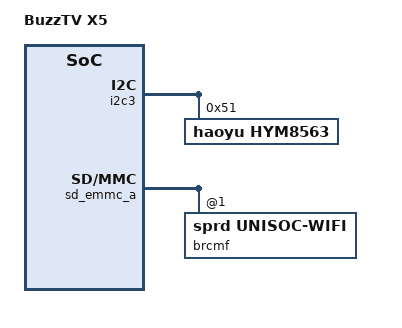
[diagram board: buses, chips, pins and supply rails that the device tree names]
#include "coreelec_sc2.dtsi"

/ {
	model = "BuzzTV X5";
	amlogic-dt-id = "sc2_s905x4_ah212-Eth-2g";
	coreelec-dt-id = "sc2_s905x4_buzztv_x5_2g";

	/delete-node/ rtc;
	/delete-node/ dvb-extern;

	gpio_keypad{
		key_num = <1>;
		key_name = "powerkey";
		key_code = <116>;
		key_type = <EV_KEY>;
	};

	gpioleds {
		net_green {
			label="net_green";
			gpios = <&gpio GPIOD_4 GPIO_ACTIVE_LOW>;
			default-state ="off";
		};
	};
};

&i2c2 {
	status = "disable";
};

&i2c3 {
	tlc59116: tlc59116@60 {
		status = "disable";
	};

	hym8563: hym8563@51 {
		compatible = "haoyu,hym8563";
		reg = <0x51>;
		//interrupts = <13 IRQ_TYPE_EDGE_FALLING>;
		//i2c_bus = "i2c_bus_c";
		//#clock-cells = <0>;
		status = "okay";
	};
};

&pinctrl_periphs {
	spdifout_a_mute: spdifout_a_mute {
		mux { /* GPIOH_4 */
			groups = "GPIOH_4";
		};
	};
};

&sd_emmc_a {
	#address-cells = <1>;
	#size-cells = <0>;
	sdio {
		f_max = <170000000>;
	};
	brcmf: wifi@1 {
		reg = <1>;
		compatible = "sprd,unisoc-wifi";
	};
};

&ethmac {
	cali_val = <0x80000>;
};
